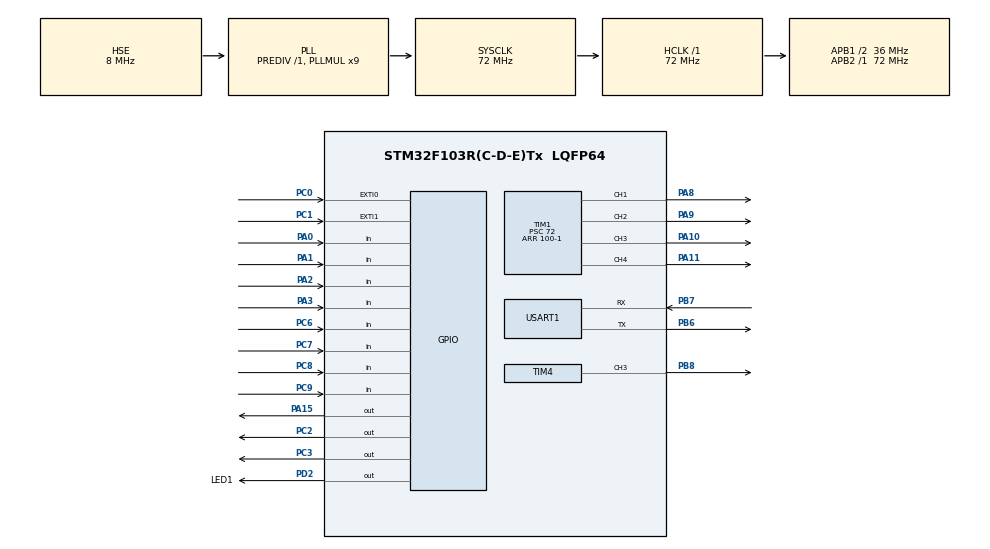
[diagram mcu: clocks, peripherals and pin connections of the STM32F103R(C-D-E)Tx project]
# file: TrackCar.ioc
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Mcu.Family=STM32F1
Mcu.Name=STM32F103R(C-D-E)Tx
Mcu.Package=LQFP64
NVIC.EXTI0_IRQn=true\:1\:0\:true\:false\:true\:true\:true
NVIC.EXTI1_IRQn=true\:1\:0\:true\:false\:true\:true\:true
NVIC.PriorityGroup=NVIC_PRIORITYGROUP_4
NVIC.TIM2_IRQn=true\:0\:0\:true\:false\:true\:true\:true
PA0-WKUP.Signal=GPIO_Input
PA1.Signal=GPIO_Input
PA10.Signal=S_TIM1_CH3
PA11.Signal=S_TIM1_CH4
PA13.Mode=Serial_Wire
PA13.Signal=SYS_JTMS-SWDIO
PA14.Mode=Serial_Wire
PA14.Signal=SYS_JTCK-SWCLK
PA15.PinState=GPIO_PIN_SET
PA15.Signal=GPIO_Output
PA2.Signal=GPIO_Input
PA3.Signal=GPIO_Input
PA8.Signal=S_TIM1_CH1
PA9.Signal=S_TIM1_CH2
PB6.Mode=Asynchronous
PB6.Signal=USART1_TX
PB7.Mode=Asynchronous
PB7.Signal=USART1_RX
PB8.Signal=S_TIM4_CH3
PC0.GPIO_ModeDefaultEXTI=GPIO_MODE_IT_FALLING
PC0.GPIO_PuPd=GPIO_PULLUP
PC0.Signal=GPXTI0
PC1.GPIO_ModeDefaultEXTI=GPIO_MODE_IT_FALLING
PC1.GPIO_PuPd=GPIO_PULLUP
PC1.Signal=GPXTI1
PC2.Signal=GPIO_Output
PC3.Signal=GPIO_Output
PC6.Signal=GPIO_Input
PC7.Signal=GPIO_Input
PC8.Signal=GPIO_Input
PC9.Signal=GPIO_Input
PD0-OSC_IN.Mode=HSE-External-Oscillator
PD0-OSC_IN.Signal=RCC_OSC_IN
PD1-OSC_OUT.Mode=HSE-External-Oscillator
PD1-OSC_OUT.Signal=RCC_OSC_OUT
PD2.GPIO_Label=LED1
PD2.GPIO_Speed=GPIO_SPEED_FREQ_HIGH
PD2.PinState=GPIO_PIN_SET
PD2.Signal=GPIO_Output
ProjectManager.HeapSize=0x200
ProjectManager.StackSize=0x400
ProjectManager.TargetToolchain=MDK-ARM V5
RCC.AHBFreq_Value=72000000
RCC.APB1CLKDivider=RCC_HCLK_DIV2
RCC.APB1Freq_Value=36000000
RCC.APB1TimFreq_Value=72000000
RCC.APB2Freq_Value=72000000
RCC.APB2TimFreq_Value=72000000
RCC.HCLKFreq_Value=72000000
RCC.PLLMUL=RCC_PLL_MUL9
RCC.PLLSourceVirtual=RCC_PLLSOURCE_HSE
RCC.SYSCLKFreq_VALUE=72000000
RCC.SYSCLKSource=RCC_SYSCLKSOURCE_PLLCLK
RCC.USBFreq_Value=72000000
SH.S_TIM1_CH1.0=TIM1_CH1,PWM Generation1 CH1
SH.S_TIM1_CH2.0=TIM1_CH2,PWM Generation2 CH2
SH.S_TIM1_CH3.0=TIM1_CH3,PWM Generation3 CH3
SH.S_TIM1_CH4.0=TIM1_CH4,PWM Generation4 CH4
SH.S_TIM4_CH3.0=TIM4_CH3,PWM Generation3 CH3
TIM1.Channel-PWM\ Generation1\ CH1=TIM_CHANNEL_1
TIM1.Channel-PWM\ Generation2\ CH2=TIM_CHANNEL_2
TIM1.Channel-PWM\ Generation3\ CH3=TIM_CHANNEL_3
TIM1.Channel-PWM\ Generation4\ CH4=TIM_CHANNEL_4
TIM1.Period=100-1
TIM1.Prescaler=72
TIM2.AutoReloadPreload=TIM_AUTORELOAD_PRELOAD_ENABLE
TIM2.Period=999
TIM2.Prescaler=7200
TIM4.Channel-PWM\ Generation3\ CH3=TIM_CHANNEL_3
TIM4.Period=200-1
TIM4.Prescaler=7200-1
USART1.VirtualMode=VM_ASYNC
VP_TIM2_VS_ClockSourceINT.Mode=Internal
VP_TIM4_VS_ClockSourceINT.Mode=Internal
board=custom

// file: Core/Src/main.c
/* USER CODE BEGIN Header */
/**
  ******************************************************************************
  * @file           : main.c
  * @brief          : Main program body
  ******************************************************************************
  * @attention
  *
  * <h2><center>&copy; Copyright (c) 2021 STMicroelectronics.
  * All rights reserved.</center></h2>
  *
  * This software component is licensed by ST under BSD 3-Clause license,
  * the "License"; You may not use this file except in compliance with the
  * License. You may obtain a copy of the License at:
  *                        opensource.org/licenses/BSD-3-Clause
  *
  ******************************************************************************
  */
/* USER CODE END Header */
#include "main.h"
#include "tim.h"
#include "usart.h"
#include "gpio.h"

/* USER CODE BEGIN Includes */
#include "stdio.h"
#include "control.h"
#include "math.h"
/* USER CODE END Includes */

/* USER CODE BEGIN PV */
uint16_t Numturn1 = 0;
uint16_t Numturn2 = 0;
/* USER CODE END PV */

void SystemClock_Config(void);

/* USER CODE BEGIN 0 */
int fputc(int ch, FILE *f)
{
	while(!(USART1->SR & (1<<7)));
	USART1->DR = ch;

	return ch;
}
/* USER CODE END 0 */

int main(void)
{

  /* MCU Configuration--------------------------------------------------------*/

  /* Reset of all peripherals, Initializes the Flash interface and the Systick. */
  HAL_Init();

  /* Configure the system clock */
  SystemClock_Config();

  /* Initialize all configured peripherals */
  MX_GPIO_Init();
  MX_TIM1_Init();
  MX_TIM2_Init();
  MX_USART1_UART_Init();
  MX_TIM4_Init();
  /* USER CODE BEGIN 2 */
	//HAL_TIM_PWM_Start(&htim3, TIM_CHANNEL_1);
	HAL_TIM_PWM_Start(&htim1, TIM_CHANNEL_1);//TIM_CH1(PWM)
	HAL_TIM_PWM_Start(&htim1, TIM_CHANNEL_2);
	HAL_TIM_PWM_Start(&htim1, TIM_CHANNEL_3);
	HAL_TIM_PWM_Start(&htim1, TIM_CHANNEL_4);
	HAL_TIM_PWM_Start(&htim4, TIM_CHANNEL_3);
	//HAL_TIM_Encoder_Start(&htim4, TIM_CHANNEL_1);//开启编码器A
	//HAL_TIM_Encoder_Start(&htim4, TIM_CHANNEL_2);//开启编码器B
	HAL_TIM_Base_Start_IT(&htim2);//使能定时器2中断
  /* USER CODE END 2 */

  /* Infinite loop */
  while (1)
  {

    /* USER CODE BEGIN 3 */

		Go();
		//HAL_Delay(50);
		/*if(HAL_GPIO_ReadPin(GPIOA,GPIO_PIN_1) == SET)
		{
				Servo_Control(89);
				HAL_Delay(50);
		}
		if(HAL_GPIO_ReadPin(GPIOA,GPIO_PIN_0) == RESET)
		{
			if(HAL_GPIO_ReadPin(GPIOA,GPIO_PIN_2) == SET)
			{
				Left();
				HAL_Delay(50);
			}
		}
		if(HAL_GPIO_ReadPin(GPIOA,GPIO_PIN_0) == SET)
		{
			if(HAL_GPIO_ReadPin(GPIOA,GPIO_PIN_2) == RESET)
			{
				Right();
				HAL_Delay(50);
			}
		}
		if(((HAL_GPIO_ReadPin(GPIOA, GPIO_PIN_0) == SET)&&(HAL_GPIO_ReadPin(GPIOA, GPIO_PIN_1) == SET))||
				((HAL_GPIO_ReadPin(GPIOA, GPIO_PIN_0) == SET)&&(HAL_GPIO_ReadPin(GPIOA, GPIO_PIN_2) == SET))||
					((HAL_GPIO_ReadPin(GPIOA, GPIO_PIN_1) == SET)&&(HAL_GPIO_ReadPin(GPIOA, GPIO_PIN_2) == SET)))
			{
				Stop();
				while(1);
			}
		if(((HAL_GPIO_ReadPin(GPIOA, GPIO_PIN_0) == SET)&&(HAL_GPIO_ReadPin(GPIOA, GPIO_PIN_1) == SET))||
				((HAL_GPIO_ReadPin(GPIOA, GPIO_PIN_0) == SET)&&(HAL_GPIO_ReadPin(GPIOA, GPIO_PIN_2) == SET))||
					((HAL_GPIO_ReadPin(GPIOA, GPIO_PIN_1) == SET)&&(HAL_GPIO_ReadPin(GPIOA, GPIO_PIN_2) == SET)))
			{
				HAL_Delay(50);
				if(((HAL_GPIO_ReadPin(GPIOA, GPIO_PIN_0) == SET)&&(HAL_GPIO_ReadPin(GPIOA, GPIO_PIN_1) == SET))||
				((HAL_GPIO_ReadPin(GPIOA, GPIO_PIN_0) == SET)&&(HAL_GPIO_ReadPin(GPIOA, GPIO_PIN_2) == SET))||
					((HAL_GPIO_ReadPin(GPIOA, GPIO_PIN_1) == SET)&&(HAL_GPIO_ReadPin(GPIOA, GPIO_PIN_2) == SET)))
				{
					Stop();
					while(1);
				}
			}*/
		/*for(uint8_t i = 0; i < 50; i++)
		{
				if(((HAL_GPIO_ReadPin(GPIOA, GPIO_PIN_0) == SET)&&(HAL_GPIO_ReadPin(GPIOA, GPIO_PIN_1) == SET))||
					((HAL_GPIO_ReadPin(GPIOA, GPIO_PIN_0) == SET)&&(HAL_GPIO_ReadPin(GPIOA, GPIO_PIN_2) == SET))||
						((HAL_GPIO_ReadPin(GPIOA, GPIO_PIN_1) == SET)&&(HAL_GPIO_ReadPin(GPIOA, GPIO_PIN_2) == SET)))
				{
					HAL_Delay(20);
					if(((HAL_GPIO_ReadPin(GPIOA, GPIO_PIN_0) == SET)&&(HAL_GPIO_ReadPin(GPIOA, GPIO_PIN_1) == SET))||
						((HAL_GPIO_ReadPin(GPIOA, GPIO_PIN_0) == SET)&&(HAL_GPIO_ReadPin(GPIOA, GPIO_PIN_2) == SET))||
							((HAL_GPIO_ReadPin(GPIOA, GPIO_PIN_1) == SET)&&(HAL_GPIO_ReadPin(GPIOA, GPIO_PIN_2) == SET)))
					{
						Stop();
						while(1);
					}
			  }
		}
		*/
		if(((HAL_GPIO_ReadPin(GPIOA, GPIO_PIN_0) == SET)&&(HAL_GPIO_ReadPin(GPIOA, GPIO_PIN_1) == SET))||
						((HAL_GPIO_ReadPin(GPIOA, GPIO_PIN_0) == SET)&&(HAL_GPIO_ReadPin(GPIOA, GPIO_PIN_2) == SET))||
							((HAL_GPIO_ReadPin(GPIOA, GPIO_PIN_1) == SET)&&(HAL_GPIO_ReadPin(GPIOA, GPIO_PIN_2) == SET)))
					{
						Stop();
						while(1);

					}
				}
  /* USER CODE END 3 */
}

void SystemClock_Config(void)
{
  RCC_OscInitTypeDef RCC_OscInitStruct = {0};
  RCC_ClkInitTypeDef RCC_ClkInitStruct = {0};

  /** Initializes the RCC Oscillators according to the specified parameters
  * in the RCC_OscInitTypeDef structure.
  */
  RCC_OscInitStruct.OscillatorType = RCC_OSCILLATORTYPE_HSE;
  RCC_OscInitStruct.HSEState = RCC_HSE_ON;
  RCC_OscInitStruct.HSEPredivValue = RCC_HSE_PREDIV_DIV1;
  RCC_OscInitStruct.HSIState = RCC_HSI_ON;
  RCC_OscInitStruct.PLL.PLLState = RCC_PLL_ON;
  RCC_OscInitStruct.PLL.PLLSource = RCC_PLLSOURCE_HSE;
  RCC_OscInitStruct.PLL.PLLMUL = RCC_PLL_MUL9;
  if (HAL_RCC_OscConfig(&RCC_OscInitStruct) != HAL_OK)
  {
    Error_Handler();
  }
  /** Initializes the CPU, AHB and APB buses clocks
  */
  RCC_ClkInitStruct.ClockType = RCC_CLOCKTYPE_HCLK|RCC_CLOCKTYPE_SYSCLK
                              |RCC_CLOCKTYPE_PCLK1|RCC_CLOCKTYPE_PCLK2;
  RCC_ClkInitStruct.SYSCLKSource = RCC_SYSCLKSOURCE_PLLCLK;
  RCC_ClkInitStruct.AHBCLKDivider = RCC_SYSCLK_DIV1;
  RCC_ClkInitStruct.APB1CLKDivider = RCC_HCLK_DIV2;
  RCC_ClkInitStruct.APB2CLKDivider = RCC_HCLK_DIV1;

  if (HAL_RCC_ClockConfig(&RCC_ClkInitStruct, FLASH_LATENCY_2) != HAL_OK)
  {
    Error_Handler();
  }
}

/* USER CODE BEGIN 4 */
void HAL_GPIO_EXTI_Callback(uint16_t GPIO_Pin)
{
	if(GPIO_Pin == GPIO_PIN_1)
	{
		if(HAL_GPIO_ReadPin(GPIOC,GPIO_PIN_1) == 0)
		{
			Numturn1 ++;
		}
	}
	if(GPIO_Pin == GPIO_PIN_0)
	{
		if(HAL_GPIO_ReadPin(GPIOC,GPIO_PIN_0) == 0)
		{
			Numturn2 ++;
		}
	}
}
void HAL_TIM_PeriodElapsedCallback(TIM_HandleTypeDef *htim)
{
	static unsigned char i = 0;
	if(htim == (&htim2))
	{
		//GetMotorPulse();
		MotorSpeed1 = Numturn1;
		//获取电机速度m/s
		Numturn1 = 0;
		MotorSpeed2 = Numturn2;
		Numturn2 = 0;
		MotorOutput1 = SpeedInnerControl1(MotorSpeed1,SpeedTarget);
		MotorOutput2 = SpeedInnerControl2(MotorSpeed2,SpeedTarget);
		printf("%f,%f\n",MotorSpeed1,MotorSpeed2);
		//PID控制器，取回占空比
		//SetMotorVoltageAndDirection(MotorOutput);
		//将占空比导入至电机控制函数
		i++;
		if(i>100)
		{
			HAL_GPIO_TogglePin(GPIOD, GPIO_PIN_2);
			//打印定时器4的数值，short(-32768-32767);
			//printf("Left = %d moto = %d\r\n", MotorSpeed1, MotorOutput1);
			//printf("Right = %d moto = %d\r\n", MotorSpeed2, MotorOutput2);
			i = 0;
		}
	}
}
/* USER CODE END 4 */

void Error_Handler(void)
{
  __disable_irq();
  while (1)
  {
  }
}

/************************ (C) COPYRIGHT STMicroelectronics *****END OF FILE****/
